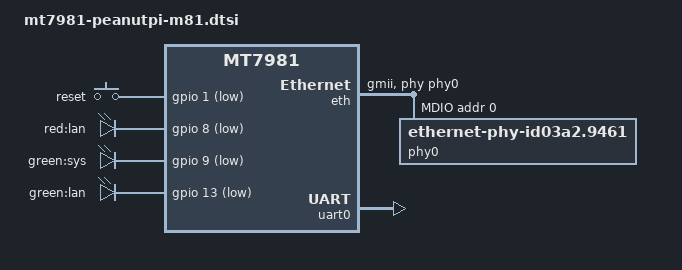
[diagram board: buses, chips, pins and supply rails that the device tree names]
// SPDX-License-Identifier: GPL-2.0

/dts-v1/;
#include "mt7981.dtsi"
#include <dt-bindings/gpio/gpio.h>

/ {
	#address-cells = <1>;
	#size-cells = <1>;

	chosen {
		stdout-path = &uart0;
		tick-timer = &timer0;
	};

	config {
		bootcmd = "mtkboardboot";
		link_led = "red:lan";
		blink_led = "green:lan";
		system_led = "green:sys";
	};

	gpio-keys {
		compatible = "gpio-keys";

		button-reset {
			label = "reset";
			gpios = <&gpio 1 GPIO_ACTIVE_LOW>;
		};
	};

	gpio-leds {
		compatible = "gpio-leds";

                led-0 {
                        label = "red:lan";
                        gpios = <&gpio 8 GPIO_ACTIVE_LOW>;
                };

		led-1 {
			label = "green:sys";
			gpios = <&gpio 9 GPIO_ACTIVE_LOW>;
		};

		led-2 {
			label = "green:lan";
			gpios = <&gpio 13 GPIO_ACTIVE_LOW>;
		};
	};
};

&eth {
	status = "okay";
	mediatek,gmac-id = <1>;
	phy-mode = "gmii";
	phy-handle = <&phy0>;

	mdio {
		phy0: ethernet-phy@0 {
			compatible = "ethernet-phy-id03a2.9461";
			reg = <0>;
			phy-mode = "gmii";
		};
	};
};

&uart0 {
	status = "okay";
};

&watchdog {
	status = "disabled";
};
